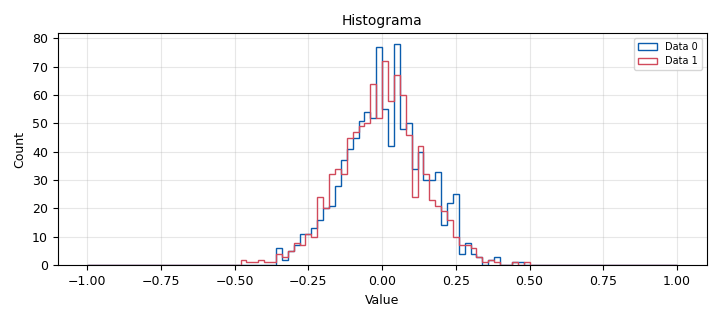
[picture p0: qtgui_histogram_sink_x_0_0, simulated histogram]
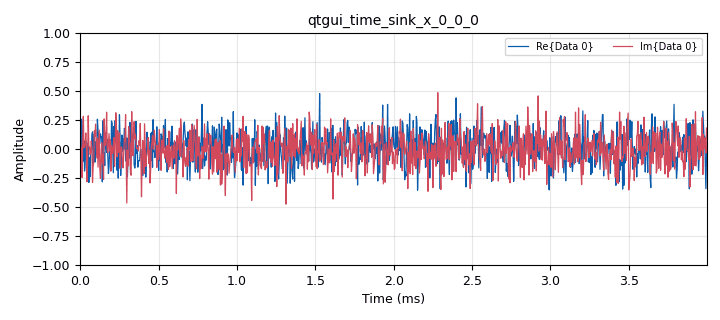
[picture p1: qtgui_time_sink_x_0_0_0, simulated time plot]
options:
  parameters:
    generate_options: qt_gui
    id: MISION_7
    output_language: python
    title: Not titled yet
  states: {}

blocks:
- name: A
  id: variable_qtgui_range
  parameters:
    start: '0'
    step: '0.001'
    stop: '1'
    value: '0.5'
  states: {}
- name: N
  id: variable_qtgui_range
  parameters:
    start: '0'
    step: '0.001'
    stop: '1'
    value: '0.2'
  states: {}
- name: samp_rate
  id: variable
  parameters:
    value: '256000'
  states: {}
- name: analog_noise_source_x_0
  id: analog_noise_source_x
  parameters:
    amp: N
    noise_type: analog.GR_GAUSSIAN
    seed: '0'
    type: complex
  states: {}
- name: analog_sig_source_x_0
  id: analog_sig_source_x
  parameters:
    amp: A
    freq: '1000'
    offset: '0'
    phase: '0'
    samp_rate: samp_rate
    type: complex
    waveform: analog.GR_COS_WAVE
  states: {state: disabled}
- name: blocks_complex_to_float_0
  id: blocks_complex_to_float
  parameters: {}
  states: {}
- name: blocks_stream_to_vector_decimator_0
  id: blocks_stream_to_vector_decimator
  parameters:
    sample_rate: samp_rate
    type: complex
    vec_rate: '30'
    vlen: '1024'
  states: {}
- name: blocks_throttle_0
  id: blocks_throttle
  parameters:
    samples_per_second: samp_rate
    type: complex
  states: {}
- name: epy_block_0
  id: epy_block
  parameters:
    _source_code: "import numpy as np\nfrom gnuradio import gr\n\nclass PowerEstimator(gr.sync_block):\n    \"\"\"\n    PowerEstimator: recibe vectores y calcula potencia promedio por ventana.\n    Parámetros:\n        vector_length=1024\n        assume_analytic=False  -> si True, devuelve (mean(|x|^2)/2) (útil si la entrada es\n                                  la señal analítica compleja que representa una portadora real)\n    Señales:\n        in_sig = [(np.complex64, vector_length)]  (o cambiar a np.float32 si usas señales reales)\n        out_sig = [np.float32]\n    \"\"\"\n\n    def __init__(self, vector_length=1024, assume_analytic=False):\n        gr.sync_block.__init__(\n            self,\n            name=\"PowerEstimator\",\n            in_sig=[(np.complex64, int(vector_length))],\n            out_sig=[np.float32]\n        )\n        self.vector_length = int(vector_length)\n        # Si la entrada es real (float), aquí sería mejor usar in_sig = [(np.float32, vector_length)]\n        self.assume_analytic = bool(assume_analytic)\n\n    def work(self, input_items, output_items):\n        in0 = input_items[0]         # shape (n_items, vector_length)\n        out0 = output_items[0]       # shape (n_items,)\n\n        # potencia por ventana: mean(|x|^2)\n        powers = np.mean(np.abs(in0)**2, axis=1)\n\n        if self.assume_analytic:\n            # Si la señal es analítica que representa una portadora real, dividir por 2\n            powers = powers * 0.5\n\n        out0[:] = powers.astype(np.float32)\n        return len(out0)\n\n\n"
    assume_analytic: 'True'
    vector_length: '1024'
  states: {}
- name: epy_block_1
  id: epy_block
  parameters:
    _source_code: "import numpy as np\nfrom gnuradio import gr\n\nclass AmplitudeStats(gr.sync_block):\n    \"\"\"\n    AmplitudeStats: recibe una entrada por item que es un VECTOR de muestras complejas\n    (dtype np.complex64) y produce DOS salidas por item (float32):\n      out[0] = media de la magnitud\n      out[1] = desviación estándar de la magnitud\n    Constructor:\n        AmplitudeStats(vector_length=1024)\n    Señales:\n        in_sig = [(np.complex64, vector_length)]\n        out_sig = [np.float32, np.float32]\n    \"\"\"\n\n    def __init__(self, vector_length=1024):\n        gr.sync_block.__init__(\n            self,\n            name=\"AmplitudeStats\",\n            in_sig=[(np.complex64, int(vector_length))],\n            out_sig=[np.float32, np.float32]\n        )\n        self.vector_length = int(vector_length)\n\n    def work(self, input_items, output_items):\n        \"\"\"\n        input_items[0] shape: (n_items, vector_length)\n        output_items[0] and output_items[1] shape: (n_items,)\n        Calcula media y std de la magnitud para cada ventana.\n        \"\"\"\n        in0 = input_items[0]\n        out_mean = output_items[0]\n        out_std = output_items[1]\n\n        mags = np.abs(in0)                           # shape (n_items, vector_length)\n        means = np.mean(mags, axis=1)               # shape (n_items,)\n        stds = np.std(mags, axis=1)                 # shape (n_items,) ddof=0\n\n        out_mean[:] = means.astype(np.float32)\n        out_std[:] = stds.astype(np.float32)\n\n        return len(out_mean)\n\n"
    vector_length: '1024'
  states: {}
- name: qtgui_histogram_sink_x_0_0
  id: qtgui_histogram_sink_x
  parameters:
    accum: 'True'
    bins: '100'
    name: '"Histograma"'
    nconnections: '2'
    size: '1024'
    type: float
    xmax: '1'
    xmin: '-1'
  states: {}
- name: qtgui_number_sink_0
  id: qtgui_number_sink
  parameters:
    graph_type: qtgui.NUM_GRAPH_HORIZ
    name: '"MEDIA"'
    type: float
  states: {}
- name: qtgui_number_sink_1
  id: qtgui_number_sink
  parameters:
    graph_type: qtgui.NUM_GRAPH_HORIZ
    name: '"DESV.ESTANDAR"'
    type: float
  states: {}
- name: qtgui_number_sink_1_0
  id: qtgui_number_sink
  parameters:
    graph_type: qtgui.NUM_GRAPH_HORIZ
    name: '"POTENCIA"'
    type: float
  states: {}
- name: qtgui_time_sink_x_0_0_0
  id: qtgui_time_sink_x
  parameters:
    size: '1024'
    srate: samp_rate
    type: complex
  states: {}

connections:
- [analog_noise_source_x_0, '0', blocks_throttle_0, '0']
- [analog_sig_source_x_0, '0', blocks_throttle_0, '0']
- [blocks_complex_to_float_0, '0', qtgui_histogram_sink_x_0_0, '0']
- [blocks_complex_to_float_0, '1', qtgui_histogram_sink_x_0_0, '1']
- [blocks_stream_to_vector_decimator_0, '0', epy_block_0, '0']
- [blocks_stream_to_vector_decimator_0, '0', epy_block_1, '0']
- [blocks_throttle_0, '0', blocks_complex_to_float_0, '0']
- [blocks_throttle_0, '0', blocks_stream_to_vector_decimator_0, '0']
- [blocks_throttle_0, '0', qtgui_time_sink_x_0_0_0, '0']
- [epy_block_0, '0', qtgui_number_sink_1_0, '0']
- [epy_block_1, '0', qtgui_number_sink_0, '0']
- [epy_block_1, '1', qtgui_number_sink_1, '0']

metadata:
  file_format: 1
  grc_version: v3.10.11.0-89-ga17f69e7
